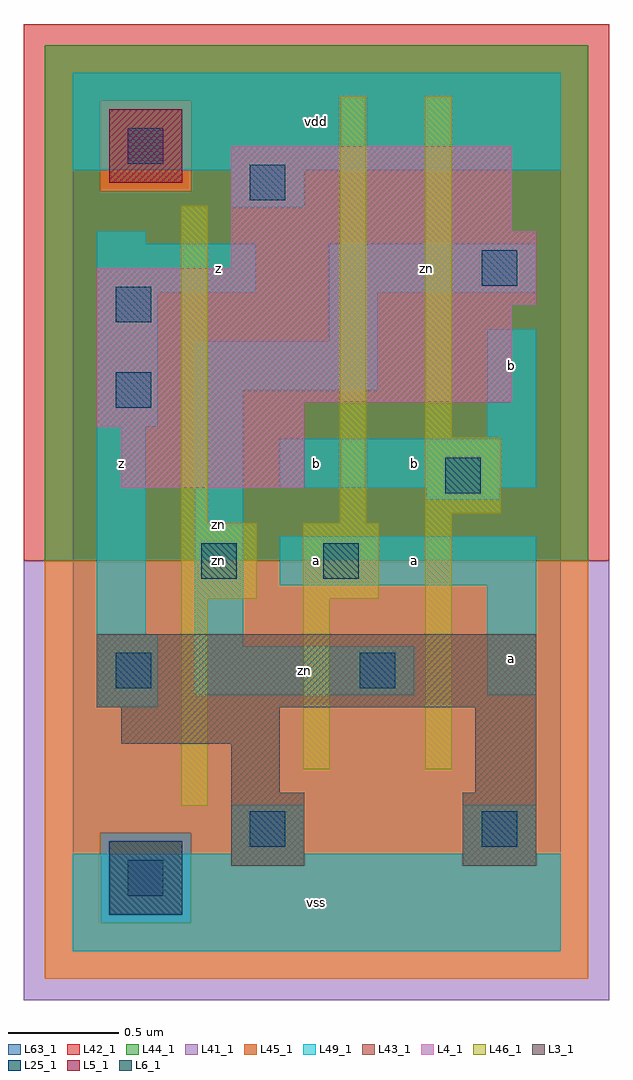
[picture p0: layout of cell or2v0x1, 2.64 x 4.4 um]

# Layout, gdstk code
import gdstk
lib = gdstk.Library(unit=1e-6, precision=1e-09)
def R(c, l, rs):  # rectangles x0, y0, x1, y1
    for r in rs: c.add(gdstk.rectangle(r[:2], r[2:], *l))
L3_1 = (3, 1)
L4_1 = (4, 1)
L5_1 = (5, 1)
L6_1 = (6, 1)
L25_1 = (25, 1)
L41_1 = (41, 1)
L42_1 = (42, 1)
L43_1 = (43, 1)
L44_1 = (44, 1)
L45_1 = (45, 1)
L46_1 = (46, 1)
L49_1 = (49, 1)
L63_1 = (63, 1)

or2v0x1 = lib.new_cell('or2v0x1')
R(or2v0x1, L3_1, [(0.715,0.385,1.045,0.715), (1.76,0.385,2.09,0.715), (0.715,0.715,0.935,0.935), (1.815,0.715,2.09,1.1), (0.22,0.935,0.935,1.1), (0.11,1.1,2.09,1.43)])
R(or2v0x1, L4_1, [(0.22,2.09,1.045,2.365), (0.11,2.365,1.045,2.475), (0.11,2.475,1.98,2.915), (0.11,2.915,2.09,3.08), (0.715,3.08,2.09,3.245), (0.715,3.245,1.98,3.63)])
R(or2v0x1, L5_1, [(0.165,3.465,0.495,3.795)])
R(or2v0x1, L6_1, [(0.165,0.165,0.495,0.495)])
R(or2v0x1, L25_1, [(0.25,0.25,0.41,0.41), (0.8,0.47,0.96,0.63), (1.845,0.47,2.005,0.63), (0.195,1.185,0.355,1.345), (1.295,1.185,1.455,1.345), (0.58,1.68,0.74,1.84), (1.13,1.68,1.29,1.84), (1.68,2.065,1.84,2.225), (0.195,2.45,0.355,2.61), (0.195,2.835,0.355,2.995), (1.845,3,2.005,3.16), (0.8,3.385,0.96,3.545), (0.25,3.55,0.41,3.71)])
R(or2v0x1, L41_1, [(-0.22,-0.22,2.42,1.76)])
R(or2v0x1, L42_1, [(-0.22,1.76,2.42,4.18)])
R(or2v0x1, L43_1, [(0.165,0.165,0.495,0.495), (0.715,0.385,1.045,0.715), (1.76,0.385,2.09,0.715), (0.715,0.715,0.935,0.935), (1.815,0.715,2.09,1.1), (0.22,0.935,0.935,1.1), (0.11,1.1,2.09,1.43), (0.22,2.09,1.045,2.365), (0.11,2.365,1.045,2.475), (0.11,2.475,1.98,2.915), (0.11,2.915,2.09,3.08), (0.715,3.08,2.09,3.245), (0.715,3.245,1.98,3.63), (0.165,3.465,0.495,3.795)])
R(or2v0x1, L44_1, [(0.125,0.125,0.535,0.535), (-0.125,1.76,2.325,3.425), (-0.125,3.425,0.125,3.835), (0.535,3.425,2.325,3.835), (-0.125,3.835,2.325,4.085)])
R(or2v0x1, L45_1, [(-0.125,-0.125,2.325,0.125), (-0.125,0.125,0.125,0.535), (0.535,0.125,2.325,0.535), (-0.125,0.535,2.325,1.76), (0.125,3.425,0.535,3.835)])
R(or2v0x1, L46_1, [(0.49,0.655,0.61,1.59), (1.04,0.82,1.16,1.59), (1.59,0.82,1.71,1.975), (0.49,1.59,0.83,1.93), (1.04,1.59,1.38,1.93), (0.49,1.93,0.61,3.36), (1.205,1.93,1.325,3.855), (1.59,1.975,1.93,2.315), (1.59,2.315,1.71,3.855)])
R(or2v0x1, L49_1, [(0,0,2.2,0.44), (0.715,0.44,1.045,0.66), (1.76,0.44,2.09,0.66), (0.11,1.1,0.385,1.43), (0.55,1.155,1.54,1.375), (1.87,1.155,2.09,1.65), (0.55,1.375,0.77,2.53), (0.11,1.43,0.33,2.365), (0.935,1.65,2.09,1.87), (1.595,2.035,1.925,2.09), (0.935,2.09,2.09,2.31), (1.87,2.31,2.09,2.805), (0.11,2.365,0.385,2.97), (0.55,2.53,1.375,2.75), (1.155,2.75,1.375,2.97), (0.11,2.97,0.825,3.19), (1.155,2.97,2.09,3.19), (0.11,3.19,0.33,3.245), (0.715,3.355,1.045,3.52), (0,3.52,2.2,3.96)])
R(or2v0x1, L63_1, [(0,0,2.2,3.96)])
or2v0x1.add(gdstk.Label('zn', (0.66,1.76), layer=49, texttype=1))
or2v0x1.add(gdstk.Label('z', (0.22,2.2), layer=49, texttype=1))
or2v0x1.add(gdstk.Label('zn', (0.66,1.925), layer=49, texttype=1))
or2v0x1.add(gdstk.Label('z', (0.66,3.08), layer=49, texttype=1))
or2v0x1.add(gdstk.Label('vss', (1.1,0.22), layer=49, texttype=1))
or2v0x1.add(gdstk.Label('a', (1.1,1.76), layer=49, texttype=1))
or2v0x1.add(gdstk.Label('zn', (1.045,1.265), layer=49, texttype=1))
or2v0x1.add(gdstk.Label('a', (1.54,1.76), layer=49, texttype=1))
or2v0x1.add(gdstk.Label('b', (1.54,2.2), layer=49, texttype=1))
or2v0x1.add(gdstk.Label('b', (1.1,2.2), layer=49, texttype=1))
or2v0x1.add(gdstk.Label('vdd', (1.1,3.74), layer=49, texttype=1))
or2v0x1.add(gdstk.Label('a', (1.98,1.32), layer=49, texttype=1))
or2v0x1.add(gdstk.Label('b', (1.98,2.64), layer=49, texttype=1))
or2v0x1.add(gdstk.Label('zn', (1.595,3.08), layer=49, texttype=1))

lib.write_gds('or2v0x1.gds')
